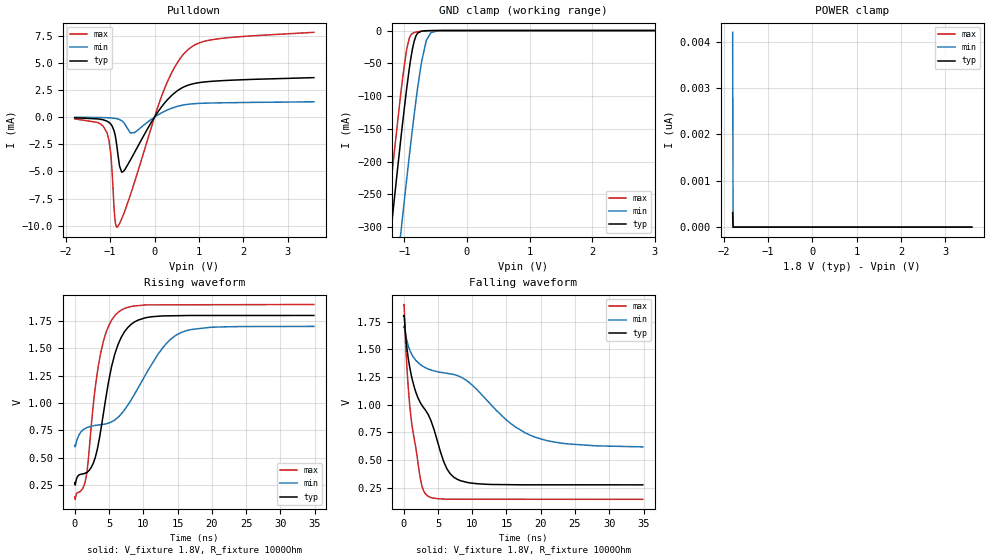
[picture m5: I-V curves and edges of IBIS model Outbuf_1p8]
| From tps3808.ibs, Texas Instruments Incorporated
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|   Model Outbuf_1p8 open-drain output buffer
[Model]   Outbuf_1p8
Model_type   Open_drain
Polarity   Non-Inverting
Vmeas = 0.9
Vref = 1.8
Cref = 0pF
Rref = 1000
|   typ   min   max
|   (nom PVT)   (fast PVT)   (slow PVT)
C_comp   10.28p   10.16p   10.96p
|C_comp (ON state)   10.28p   10.16p   10.96p
|C_comp (OFF state)   9.77p   9.64p   10.28p
| Where   nom PVT is  Nominal Process, 1.8V, 27C
|   Fast PVT is Strong Process, 1.9V, -40C
|   Slow PVT is Weak Process, 1.7V, 125C
[Voltage Range]   1.8   1.7   1.9
[Temperature Range]   27   150   -40
[Pullup Reference]   1.8   1.7   1.9
[Pulldown Reference]   -0   -0   -0
[Power Clamp Reference]   1.8   1.7   1.9
[GND Clamp Reference]   -0   -0   -0
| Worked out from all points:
|   slope of the pulldown table from 0 to 0.27 V, typ, clamps not added: 180 ohm
|   GND clamp passes 1 mA (typ) near -0.73 V on its own axis
|   falling waveform, V_fixture 1.8V, R_fixture 1000Ohm: 20-80 % time 4.84ns typ, 14.6ns min, 1.76ns max; typ from 1.8 V to 0.274 V
|   rising waveform, V_fixture 1.8V, R_fixture 1000Ohm: 20-80 % time 2.8ns typ, 7.13ns min, 2.13ns max; typ from 0.274 V to 1.8 V
[Pulldown]
|   Voltage   I(typ)   I(min)   I(max)
-1.8V     -61.85uA   -17.31uA   -164.6uA
-1.076V   -365.5uA   -60.19uA   -1.395mA
-990mV    -626.4uA   -80.07uA   -3.264mA
-898.2mV  -1.486mA   -118uA     -9.173mA
-849.6mV  -2.663mA   -152.7uA   -10.13mA
-790.2mV  -4.494mA   -224.2uA   -9.809mA
-698.4mV  -4.99mA    -490.4uA   -8.941mA
-450mV    -3.248mA   -1.426mA   -5.966mA
176.4mV   1.039mA    427.5uA    2.104mA
684mV     2.818mA    1.138mA    5.92mA
1.289V    3.291mA    1.296mA    7.114mA
3.595V    3.631mA    1.407mA    7.801mA
[GND Clamp]
|   Voltage   I(typ)   I(min)   I(max)
-1.8V     -866.8mA   -1.01A     -796.3mA
-1.438V   -518.4mA   -664mA     -446.3mA
-1.211V   -305.5mA   -451.4mA   -233mA
-1.06V    -169.8mA   -313.6mA   -99.75mA
-1.022V   -137.6mA   -280mA     -69.77mA
-957.6mV  -85.58mA   -223.5mA   -27.08mA
-871.2mV  -29.04mA   -151.6mA   -4.479mA
-811.8mV  -7.965mA   -105.7mA   -2.385mA
-725.4mV  -921.5uA   -48.64mA   -1.093mA
-649.8mV  -256.5uA   -16.02mA   -474.4uA
-574.2mV  -102.2uA   -3.292mA   -217.2uA
3.595V    0A         0A         0A
[POWER Clamp]
|   Voltage   I(typ)   I(min)   I(max)
-1.8V     313pA      4.205nA    205.9pA
-1.789V   0A         0A         0A
-1.784V   0A         0A         0A
3.595V    0A         0A         0A
[Ramp]
R_load = 1000
|   typ   min   max
dV/dt_r   0.915605/2.80276e-09   0.651404/7.13473e-09   1.05418/2.12696e-09
dV/dt_f   0.915602/4.83685e-09   0.649577/1.45695e-08   1.05418/1.75645e-09
[Falling Waveform]
V_fixture = 1.8V
V_fixture_min = 1.7V
V_fixture_max = 1.9V
R_fixture = 1000Ohm
C_fixture = 0F
|   Time   V(typ)   V(min)   V(max)
0s        1.8V       1.7V       1.9V
69.66ps   1.802V     1.705V     1.889V
552.2ps   1.47V      1.558V     1.257V
1.107ns   1.266V     1.463V     861.6mV
2.431ns   1.017V     1.362V     329.9mV
3.433ns   924.6mV    1.325V     176.2mV
6.307ns   419.2mV    1.283V     144.3mV
8.273ns   312mV      1.25V      143.8mV
19.09ns   274.3mV    707.4mV    143.5mV
34.9ns    274mV      617.4mV    143mV
[Rising Waveform]
V_fixture = 1.8V
V_fixture_min = 1.7V
V_fixture_max = 1.9V
R_fixture = 1000Ohm
C_fixture = 0F
|   Time   V(typ)   V(min)   V(max)
0s        274mV      614.3mV    143mV
1.583ns   361.7mV    769.8mV    298mV
2.99ns    501.3mV    796mV      1.139V
3.816ns   759.5mV    803.4mV    1.467V
4.583ns   1.062V     810.7mV    1.648V
6.458ns   1.554V     877.9mV    1.835V
9.273ns   1.758V     1.141V     1.89V
12.79ns   1.796V     1.501V     1.897V
15.59ns   1.798V     1.646V     1.897V
34.9ns    1.8V       1.7V       1.9V
